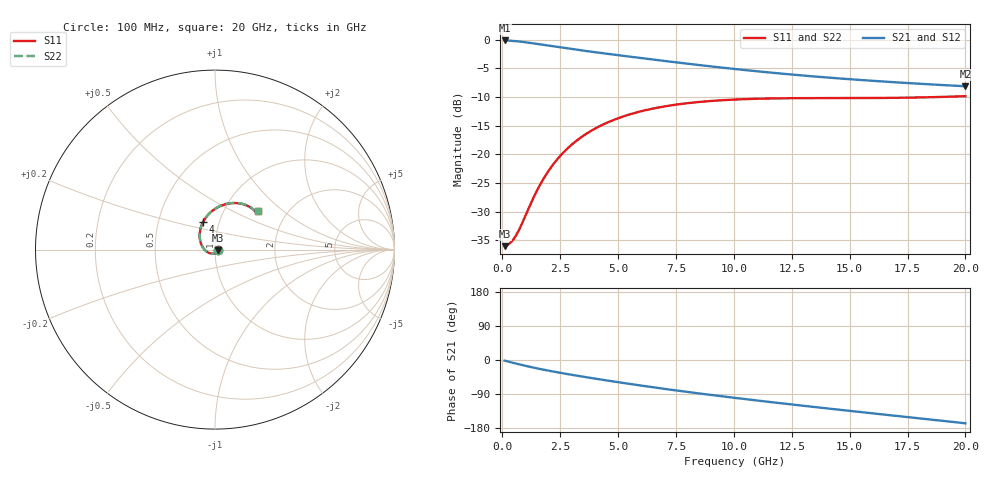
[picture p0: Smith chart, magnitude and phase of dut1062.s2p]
! Touchstone file exported from HFSS 2024.1.0
!  File:  C:/UserFiles/LocalFiles/RDL_TSV_Batchsim/temp_RDL_TSV_1062_1780091171.aedt
!  Generated:  05:59:28 AM May 30, 2026
!  Design:  RDL_TSV
!  Project:  temp_RDL_TSV_1062_1780091171
!  Setup:  Setup1
!  Solution:  Sweep
! Variables:
!  dtsv = 13.54um
!  hbump = 3um
!  htsv = 79.42um
!  ldown = 145.07um
!  lrdl = 392.68um
!  p = 40
!  p1 = 47.08um
!  rhole = 10um
!  subl = 2005.93um
!  t = 450um
!  tdown = 3.05um
!  trdl = 2.65um
!  viad = 10um
!  wdown = 25.87um
!  wrdl = 15.66um
!  xbump = 18um
# GHz S MA R 50.000000
! Terminal data exported
! Port[1] = TM1_1_T1
! Port[2] = TM1_4_T1
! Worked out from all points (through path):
!   200 points, 100 MHz to 20 GHz, reference 50 ohm
!   highest |S21| = -0.14 dB at 100 MHz (marker M1); lowest = -8.1 dB at 20 GHz (marker M2)
!   group delay of S21, straight-line fit = 21.8 ps
!   lowest |S11| = -36.0 dB at 100 MHz (marker M3), VSWR 1.03, Z = 51.6 - j0.367 ohm
!   |S11| at or under -10 dB: start of sweep to 18.89 GHz
!   |S22| runs from -36.0 to -9.8 dB; largest |S21 - S12| = 3.1e-14
!   S11 on the Smith chart (normalised r, x): 100 MHz: 1.03, -0.01; 4 GHz: 0.84, +0.26; 20 GHz: 1.43, +0.69
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0.1  0.01582 -13.0  0.9837 -1.6  0.9837 -1.6  0.01582 -13.0
! Gamma 0 0 0 0
! Port Impedance 50 0 50 0
0.4  0.01735 -53.8  0.977 -6.4  0.977 -6.4  0.01734 -53.8
0.6  0.01973 -81.5  0.9693 -9.5  0.9693 -9.5  0.01972 -81.5
1  0.02914 -128.5  0.9489 -15.4  0.9489 -15.4  0.02914 -128.6
1.5  0.04835 -167.5  0.9181 -22.1  0.9181 -22.1  0.04838 -167.6
1.8  0.06217 176.1  0.8988 -25.8  0.8988 -25.8  0.06222 176.1
2.1  0.07682 163.0  0.8799 -29.3  0.8799 -29.3  0.0769 162.9
2.7  0.1068 142.7  0.8443 -35.9  0.8443 -35.9  0.1069 142.6
3.1  0.1264 132.1  0.8224 -40.1  0.8224 -40.1  0.1266 132.0
3.5  0.1453 123.0  0.8017 -44.2  0.8017 -44.2  0.1455 123.0
4  0.1674 113.4  0.7773 -49.1  0.7773 -49.1  0.1676 113.4
4.6  0.1916 103.6  0.7497 -54.8  0.7497 -54.8  0.1919 103.6
5.3  0.2164 93.9  0.7193 -61.3  0.7193 -61.3  0.2168 93.9
6.8  0.2573 77.9  0.6595 -74.4  0.6595 -74.4  0.2577 77.9
8.4  0.2849 65.5  0.6035 -87.5  0.6035 -87.5  0.2854 65.5
10.1  0.3007 56.1  0.553 -100.4  0.553 -100.4  0.3013 56.1
11.7  0.3072 49.8  0.5134 -111.8  0.5134 -111.8  0.3079 49.8
13.4  0.3092 45.4  0.4787 -123.5  0.4787 -123.5  0.3099 45.4
15  0.3094 43.0  0.4518 -134.2  0.4518 -134.2  0.3101 43.0
16.7  0.3105 41.8  0.4281 -145.4  0.4281 -145.4  0.3112 41.8
18.3  0.3141 41.7  0.4093 -155.9  0.4093 -155.9  0.3147 41.6
20  0.3216 42.0  0.3921 -167.0  0.3921 -167.0  0.3223 41.9
